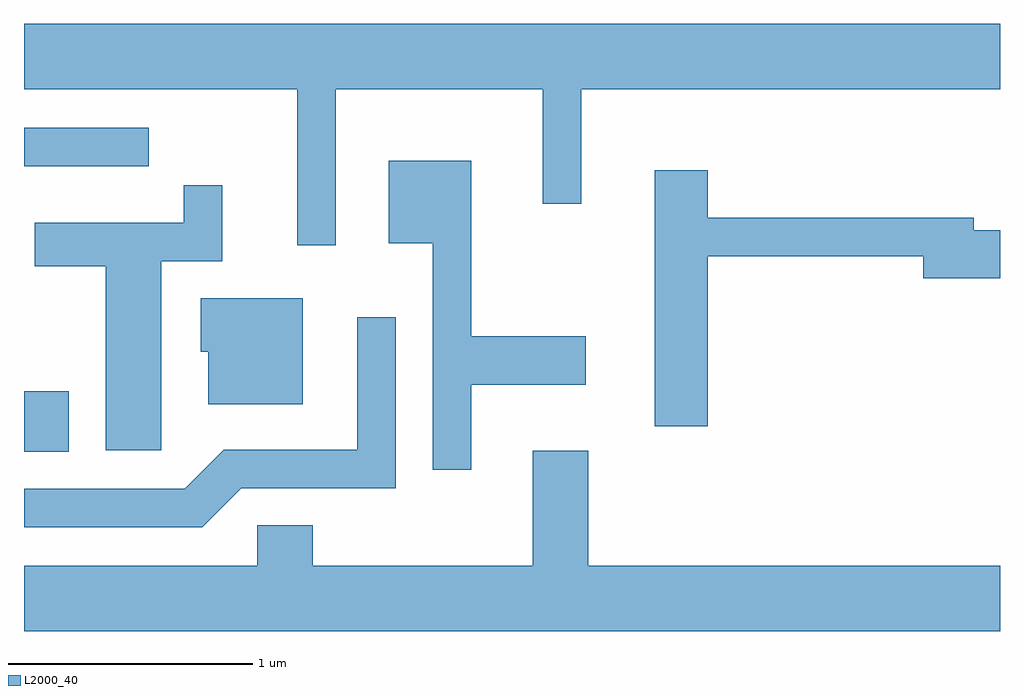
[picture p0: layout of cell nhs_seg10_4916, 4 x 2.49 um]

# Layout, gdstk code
import gdstk
lib = gdstk.Library(unit=1e-6, precision=1e-09)
def R(c, l, rs):  # rectangles x0, y0, x1, y1
    for r in rs: c.add(gdstk.rectangle(r[:2], r[2:], *l))
def P(c, l, *ps):  # polygons
    for p in ps: c.add(gdstk.Polygon(p, *l))
L2000_40 = (2000, 40)

nhs_seg10_4916 = lib.new_cell('nhs_seg10_4916')
R(nhs_seg10_4916, L2000_40, [(329.611,2163.491,329.794,2163.739), (329.611,2164.661,330.123,2164.819)])
P(nhs_seg10_4916, L2000_40, [(330.889,2164.976),(331.736,2164.976),(331.736,2164.508),(331.894,2164.508),(331.894,2164.976),(333.611,2164.976),(333.611,2165.244),(329.611,2165.244),(329.611,2164.976),(330.731,2164.976),(330.731,2164.338),(330.889,2164.338)],
  [(331.444,2163.766),(331.914,2163.766),(331.914,2163.964),(331.444,2163.964),(331.444,2164.684),(331.106,2164.684),(331.106,2164.346),(331.286,2164.346),(331.286,2163.418),(331.444,2163.418)],
  [(332.414,2164.291),(333.296,2164.291),(333.296,2164.201),(333.611,2164.201),(333.611,2164.399),(333.504,2164.399),(333.504,2164.449),(332.414,2164.449),(332.414,2164.644),(332.196,2164.644),(332.196,2163.596),(332.414,2163.596)],
  [(330.174,2164.271),(330.424,2164.271),(330.424,2164.583),(330.266,2164.583),(330.266,2164.429),(329.656,2164.429),(329.656,2164.251),(329.946,2164.251),(329.946,2163.496),(330.174,2163.496)],
  [(330.754,2164.119),(330.336,2164.119),(330.336,2163.901),(330.366,2163.901),(330.366,2163.686),(330.754,2163.686)],
  [(330.502,2163.341),(331.134,2163.341),(331.134,2164.043),(330.976,2164.043),(330.976,2163.499),(330.429,2163.499),(330.269,2163.339),(329.611,2163.339),(329.611,2163.181),(330.342,2163.181)],
  [(333.611,2163.024),(331.924,2163.024),(331.924,2163.494),(331.696,2163.494),(331.696,2163.024),(330.794,2163.024),(330.794,2163.189),(330.566,2163.189),(330.566,2163.024),(329.611,2163.024),(329.611,2162.756),(333.611,2162.756)])

lib.write_gds('nhs_seg10_4916.gds')
